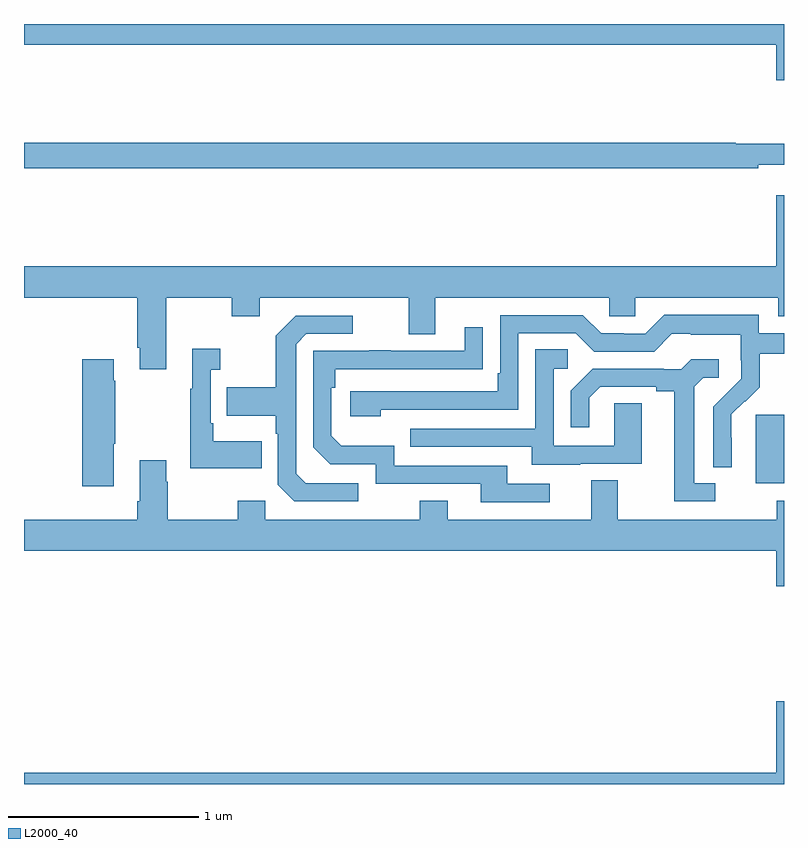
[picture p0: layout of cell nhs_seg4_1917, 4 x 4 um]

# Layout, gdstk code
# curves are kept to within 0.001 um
import gdstk
lib = gdstk.Library(unit=1e-6, precision=1e-09)
def R(c, l, rs):  # rectangles x0, y0, x1, y1
    for r in rs: c.add(gdstk.rectangle(r[:2], r[2:], *l))
def P(c, l, *ps):  # polygons
    for p in ps: c.add(gdstk.Polygon(p, *l))
L2000_40 = (2000, 40)

nhs_seg4_1917 = lib.new_cell('nhs_seg4_1917')
R(nhs_seg4_1917, L2000_40, [(212.852,822.482,213,822.843)])
P(nhs_seg4_1917, L2000_40, [(213,824.9),(209,824.9),(209,824.792),(212.96,824.792),(212.96,824.604),(213,824.604)],
  [(212.864,824.159),(213,824.159),(213,824.269),(212.747,824.269),(212.747,824.276),(209,824.276),(209,824.14),(212.864,824.14)],
  [(209.749,823.46),(210.094,823.46),(210.094,823.361),(210.241,823.361),(210.241,823.46),(211.025,823.46),(211.025,823.266),(211.165,823.266),(211.165,823.46),(212.079,823.46),(212.079,823.362),(212.217,823.362),(212.217,823.46),(212.969,823.46),(212.969,823.361),(213,823.361),(213,823.999),(212.96,823.999),(212.96,823.624),(209,823.624),(209,823.46),(209.597,823.46),(209.597,823.195),(209.609,823.195),(209.609,823.083),(209.749,823.083)],
  [(212.724,822.722),(212.723,822.845),(212.793,822.915),(212.796,822.912),(212.873,822.989),(212.873,823.164),(213,823.164),(213,823.272),(212.868,823.272),(212.868,823.369),(212.371,823.369),(212.271,823.269),(212.156,823.269),(212.156,823.272),(212.037,823.272),(211.941,823.368),(211.506,823.368),(211.506,823.063),(211.493,823.063),(211.493,822.966),(210.717,822.966),(210.717,822.836),(210.878,822.836),(210.878,822.87),(211.602,822.87),(211.602,823.272),(211.905,823.272),(212.001,823.176),(212.316,823.176),(212.409,823.269),(212.509,823.269),(212.509,823.265),(212.772,823.265),(212.772,823.131),(212.774,823.131),(212.774,823.034),(212.628,822.886),(212.628,822.568),(212.724,822.568)],
  [(210.76,822.483),(210.483,822.483),(210.432,822.534),(210.432,823.215),(210.486,823.269),(210.73,823.269),(210.73,823.365),(210.429,823.365),(210.324,823.259),(210.324,822.987),(210.067,822.987),(210.067,822.839),(210.324,822.839),(210.324,822.743),(210.336,822.743),(210.336,822.474),(210.423,822.387),(210.76,822.387)],
  [(211.768,822.48),(211.543,822.48),(211.543,822.576),(210.948,822.576),(210.948,822.679),(210.671,822.679),(210.618,822.732),(210.618,822.986),(210.638,822.986),(210.638,823.083),(211.415,823.084),(211.415,823.303),(211.319,823.303),(211.319,823.179),(210.929,823.179),(210.929,823.184),(210.817,823.184),(210.817,823.179),(210.522,823.179),(210.522,822.672),(210.612,822.582),(210.852,822.582),(210.852,822.48),(211.403,822.48),(211.403,822.384),(211.768,822.384)],
  [(210.251,822.703),(209.995,822.703),(209.995,822.799),(209.982,822.799),(209.982,823.079),(210.034,823.079),(210.034,823.192),(209.885,823.192),(209.885,822.979),(209.874,822.979),(209.874,822.563),(210.251,822.563)],
  [(211.927,822.585),(212.251,822.585),(212.251,822.905),(212.106,822.905),(212.106,822.681),(211.788,822.681),(211.788,823.086),(211.861,823.086),(211.861,823.187),(211.692,823.187),(211.692,822.771),(211.033,822.771),(211.033,822.675),(211.673,822.675),(211.673,822.581),(211.927,822.581)],
  [(209.473,822.691),(209.481,822.691),(209.481,823.022),(209.473,823.022),(209.473,823.135),(209.306,823.135),(209.306,822.468),(209.473,822.468)],
  [(212.638,822.483),(212.527,822.483),(212.527,822.991),(212.574,823.038),(212.656,823.038),(212.656,823.135),(212.512,823.135),(212.46,823.083),(212.366,823.083),(212.366,823.086),(211.994,823.086),(211.878,822.97),(211.878,822.777),(211.975,822.777),(211.975,822.933),(212.032,822.99),(212.327,822.99),(212.327,822.968),(212.423,822.968),(212.423,822.387),(212.638,822.387)],
  [(213,822.391),(212.962,822.391),(212.962,822.292),(212.125,822.292),(212.125,822.5),(211.985,822.5),(211.985,822.292),(211.231,822.292),(211.231,822.391),(211.084,822.391),(211.084,822.292),(210.27,822.292),(210.27,822.391),(210.124,822.391),(210.124,822.292),(209.757,822.292),(209.757,822.491),(209.749,822.491),(209.749,822.604),(209.609,822.604),(209.609,822.388),(209.597,822.388),(209.597,822.292),(209,822.292),(209,822.128),(212.96,822.128),(212.96,821.94),(213,821.94)],
  [(213,821.335),(212.96,821.335),(212.96,820.96),(209,820.96),(209,820.9),(213,820.9)])

lib.write_gds('nhs_seg4_1917.gds')
